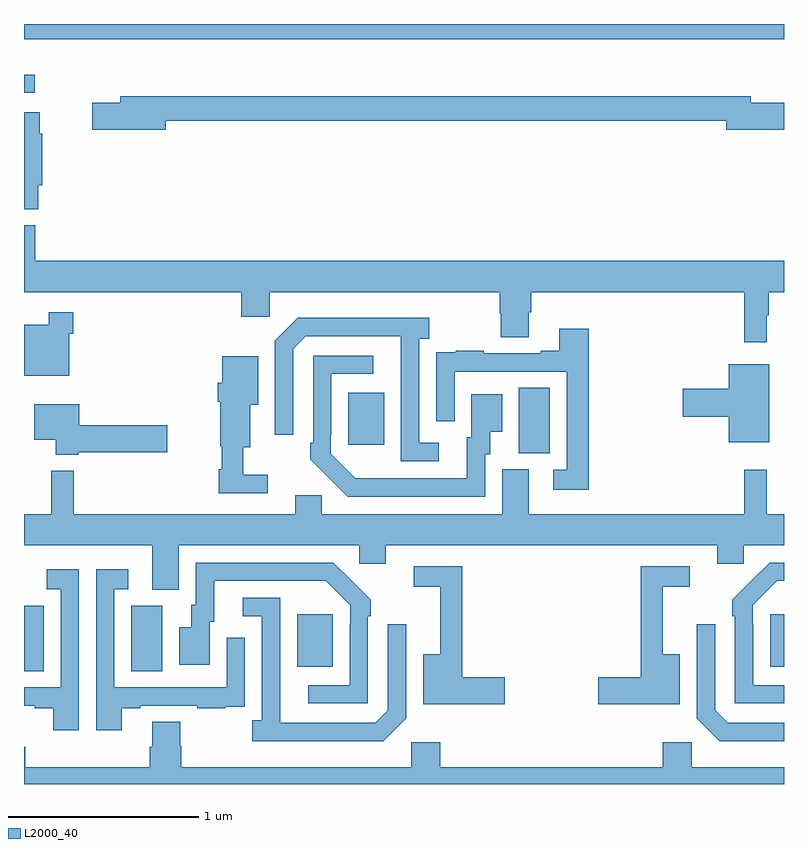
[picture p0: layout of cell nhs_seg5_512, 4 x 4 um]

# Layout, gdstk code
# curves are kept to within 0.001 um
import gdstk
lib = gdstk.Library(unit=1e-6, precision=1e-09)
def R(c, l, rs):  # rectangles x0, y0, x1, y1
    for r in rs: c.add(gdstk.rectangle(r[:2], r[2:], *l))
def P(c, l, *ps):  # polygons
    for p in ps: c.add(gdstk.Polygon(p, *l))
L2000_40 = (2000, 40)

nhs_seg5_512 = lib.new_cell('nhs_seg5_512')
R(nhs_seg5_512, L2000_40, [(143,893.392,143.104,893.736), (143.564,893.392,143.728,893.736), (144.437,893.417,144.625,893.692), (146.927,893.417,147,893.692), (145.604,894.541,145.768,894.884), (144.707,894.585,144.895,894.859), (143,896.436,143.056,896.532), (143,896.72,147,896.799)])
P(nhs_seg5_512, L2000_40, [(143.746,896.29),(146.696,896.29),(146.696,896.243),(147,896.243),(147,896.385),(146.824,896.385),(146.824,896.419),(143.507,896.419),(143.507,896.385),(143.358,896.385),(143.358,896.243),(143.746,896.243)],
  [(143.075,895.95),(143.096,895.95),(143.096,896.222),(143.083,896.222),(143.083,896.335),(143,896.335),(143,895.825),(143.075,895.825)],
  [(146.908,895.265),(146.92,895.265),(146.92,895.388),(147,895.388),(147,895.552),(143.06,895.552),(143.06,895.74),(143,895.74),(143,895.388),(144.143,895.388),(144.143,895.257),(144.294,895.257),(144.294,895.388),(145.505,895.388),(145.505,895.275),(145.51,895.275),(145.51,895.15),(145.657,895.15),(145.657,895.282),(145.67,895.282),(145.67,895.388),(146.791,895.388),(146.791,895.125),(146.908,895.125)],
  [(143.238,895.169),(143.258,895.169),(143.258,895.282),(143.13,895.282),(143.13,895.216),(143,895.216),(143,894.947),(143.238,894.947)],
  [(145.183,894.594),(145.08,894.594),(145.08,895.142),(145.132,895.142),(145.132,895.252),(144.442,895.252),(144.321,895.131),(144.321,894.636),(144.417,894.636),(144.417,895.089),(144.483,895.155),(144.983,895.155),(144.984,894.498),(145.183,894.498)],
  [(145.973,895.195),(145.817,895.195),(145.817,895.078),(145.721,895.078),(145.721,895.065),(145.421,895.065),(145.421,895.078),(145.273,895.078),(145.273,895.071),(145.171,895.071),(145.171,894.962),(145.17,894.962),(145.17,894.708),(145.266,894.708),(145.266,894.969),(145.857,894.969),(145.857,894.453),(145.785,894.453),(145.785,894.348),(145.973,894.348)],
  [(145.428,894.534),(145.453,894.534),(145.453,894.653),(145.516,894.653),(145.516,894.85),(145.355,894.85),(145.355,894.624),(145.331,894.624),(145.331,894.408),(144.744,894.409),(144.615,894.537),(144.615,894.637),(144.618,894.637),(144.618,894.957),(144.838,894.957),(144.838,895.053),(144.522,895.053),(144.522,894.595),(144.507,894.595),(144.507,894.507),(144.704,894.312),(145.428,894.312)],
  [(144.283,894.427),(144.154,894.427),(144.154,894.572),(144.19,894.572),(144.19,894.794),(144.232,894.794),(144.232,895.051),(144.044,895.051),(144.044,894.912),(144.02,894.912),(144.02,894.812),(144.032,894.812),(144.032,894.576),(144.04,894.576),(144.04,894.455),(144.025,894.455),(144.025,894.33),(144.283,894.33)],
  [(146.923,895.009),(146.708,895.009),(146.708,894.878),(146.466,894.878),(146.466,894.731),(146.708,894.731),(146.708,894.599),(146.923,894.599)],
  [(143.286,894.544),(143.755,894.544),(143.755,894.686),(143.29,894.686),(143.29,894.799),(143.054,894.799),(143.054,894.611),(143.168,894.611),(143.168,894.533),(143.286,894.533)],
  [(143.815,894.056),(144.765,894.056),(144.765,893.958),(144.904,893.958),(144.904,894.056),(146.648,894.056),(146.648,893.958),(146.787,893.958),(146.787,894.056),(147,894.056),(147,894.22),(146.909,894.22),(146.909,894.454),(146.791,894.454),(146.791,894.22),(145.657,894.22),(145.657,894.456),(145.517,894.456),(145.517,894.22),(144.567,894.22),(144.567,894.318),(144.428,894.318),(144.428,894.22),(143.261,894.22),(143.261,894.448),(143.144,894.448),(143.144,894.22),(143,894.22),(143,894.056),(143.675,894.056),(143.675,893.821),(143.815,893.821)],
  [(144.81,893.681),(144.825,893.681),(144.825,893.769),(144.628,893.964),(143.904,893.964),(143.904,893.742),(143.879,893.742),(143.879,893.623),(143.816,893.623),(143.816,893.427),(143.977,893.427),(143.977,893.652),(144.001,893.652),(144.001,893.868),(144.589,893.868),(144.717,893.739),(144.717,893.639),(144.714,893.639),(144.714,893.319),(144.495,893.319),(144.495,893.223),(144.81,893.223)],
  [(147,893.319),(146.838,893.319),(146.838,893.639),(146.835,893.639),(146.835,893.739),(146.964,893.868),(147,893.868),(147,893.964),(146.924,893.964),(146.727,893.769),(146.727,893.681),(146.742,893.681),(146.742,893.223),(147,893.223)],
  [(146.452,893.482),(146.363,893.482),(146.363,893.838),(146.503,893.838),(146.503,893.946),(146.245,893.946),(146.245,893.36),(146.022,893.36),(146.022,893.218),(146.452,893.218)],
  [(145.531,893.36),(145.307,893.36),(145.307,893.946),(145.05,893.946),(145.05,893.838),(145.19,893.838),(145.19,893.482),(145.1,893.482),(145.1,893.218),(145.531,893.218)],
  [(143.289,893.929),(143.121,893.929),(143.121,893.823),(143.193,893.823),(143.193,893.307),(143,893.307),(143,893.211),(143.057,893.211),(143.057,893.199),(143.153,893.199),(143.153,893.082),(143.289,893.082)],
  [(143.515,893.199),(143.611,893.199),(143.611,893.211),(143.911,893.211),(143.911,893.199),(144.059,893.199),(144.059,893.205),(144.161,893.205),(144.161,893.314),(144.162,893.314),(144.162,893.569),(144.066,893.569),(144.066,893.307),(143.475,893.307),(143.475,893.823),(143.548,893.823),(143.548,893.929),(143.379,893.929),(143.379,893.082),(143.515,893.082)],
  [(145.011,893.145),(145.011,893.641),(144.915,893.641),(144.915,893.187),(144.849,893.121),(144.349,893.121),(144.348,893.778),(144.15,893.778),(144.15,893.682),(144.252,893.682),(144.252,893.134),(144.201,893.134),(144.201,893.024),(144.89,893.024)],
  [(147,893.121),(146.703,893.121),(146.637,893.187),(146.637,893.641),(146.541,893.641),(146.541,893.145),(146.662,893.024),(147,893.024)],
  [(147,892.888),(146.514,892.888),(146.514,893.02),(146.363,893.02),(146.363,892.888),(145.19,892.888),(145.19,893.02),(145.038,893.02),(145.038,892.888),(143.828,892.888),(143.828,893.001),(143.823,893.001),(143.823,893.126),(143.675,893.126),(143.675,892.994),(143.663,892.994),(143.663,892.888),(143.006,892.888),(143.006,892.994),(143,892.994),(143,892.799),(147,892.799)])

lib.write_gds('nhs_seg5_512.gds')
